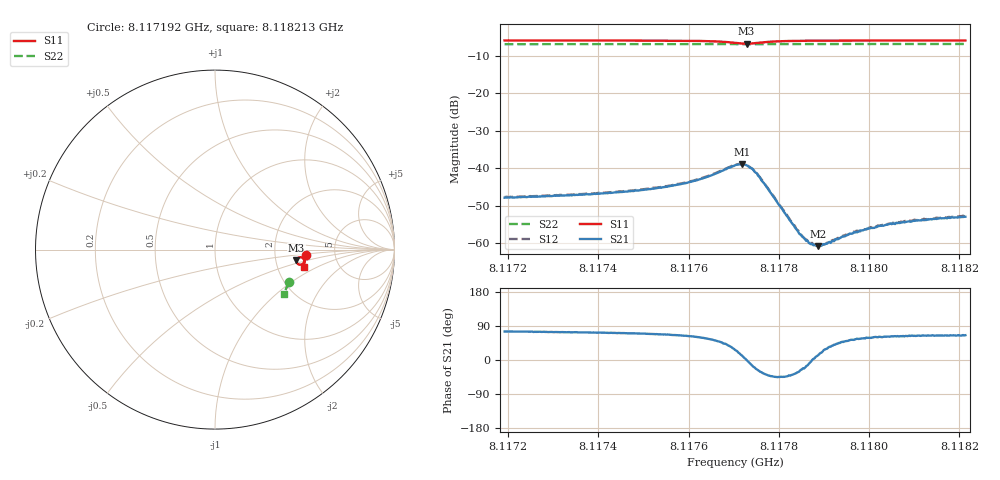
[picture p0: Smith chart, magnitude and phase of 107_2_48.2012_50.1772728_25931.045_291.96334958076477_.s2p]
#  HZ  S  RI  R  50.00
! Rohde & Schwarz Vector Network Analyzer
! Rohde-Schwarz,ZNB20-2Port,1311601062101988,3.16
! Created: UTC 3/20/2024, 11:40:50 AM
! freq[Hz]  re:S11  im:S11  re:S21  im:S21  re:S12  im:S12  re:S22  im:S22
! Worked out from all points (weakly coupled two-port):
!   401 points, 8.117192 GHz to 8.118213 GHz, reference 50 ohm
!   highest |S21| = -38.95 dB at 8.117718 GHz (marker M1); lowest = -60.8 dB at 8.117887 GHz (marker M2)
!   lowest |S11| = -6.8 dB at 8.117728 GHz (marker M3), VSWR 2.69, Z = 131 - j20 ohm
!   |S11| at or under -10 dB: nowhere
!   |S22| runs from -6.9 to -6.9 dB; largest |S21 - S12| = 0.00036
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8.1171924e9  0.5049 -0.0321  0.00102 0.00389  0.00108 0.00398  0.4128 -0.1822
8.1173634e9  0.5031 -0.0465  0.00132 0.00424  0.00137 0.00429  0.4082 -0.1933
8.1174604e9  0.5014 -0.0555  0.00161 0.00458  0.00169 0.00465  0.4056 -0.1996
8.1175344e9  0.4994 -0.0636  0.00205 0.00506  0.00216 0.00511  0.4033 -0.2041
8.117588e9  0.4965 -0.0704  0.00269 0.00562  0.00281 0.00567  0.4016 -0.2079
8.1176211e9  0.4929 -0.0755  0.00345 0.00606  0.00358 0.00615  0.4005 -0.21
8.1176492e9  0.4877 -0.0805  0.00463 0.00647  0.00474 0.00657  0.3993 -0.2118
8.1177028e9  0.463 -0.0809  0.00975 0.00491  0.00984 0.00495  0.3966 -0.2147
8.1177181e9  0.4549 -0.0706  0.0111 0.0023  0.0112 0.00212  0.396 -0.2151
8.1177283e9  0.4537 -0.0606  0.0109 5.98e-05  0.0111 -0.000112  0.3957 -0.2152
8.1177385e9  0.4575 -0.0512  0.00978 -0.00203  0.0098 -0.00217  0.3957 -0.2155
8.1177538e9  0.4682 -0.0433  0.00706 -0.00362  0.00716 -0.00383  0.3959 -0.2163
8.1178483e9  0.4969 -0.06  0.00117 -0.000576  0.00116 -0.000613  0.3941 -0.2229
8.1178636e9  0.4975 -0.0628  0.00105 -0.000263  0.00104 -0.000246  0.3937 -0.2239
8.1178738e9  0.4979 -0.0643  0.000975 1.96e-06  0.001 -2.8e-05  0.3933 -0.2246
8.1178865e9  0.498 -0.0662  0.000887 0.000192  0.000896 0.000208  0.393 -0.2254
8.1179095e9  0.4984 -0.0694  0.000848 0.000549  0.000851 0.000517  0.3921 -0.2269
8.1179682e9  0.4984 -0.0764  0.000818 0.00113  0.000832 0.00111  0.3903 -0.2307
8.1179988e9  0.4981 -0.0794  0.000808 0.00133  0.000844 0.00134  0.3891 -0.2326
8.1180448e9  0.4977 -0.084  0.000859 0.00157  0.000868 0.0016  0.3878 -0.2354
8.118106e9  0.4969 -0.0895  0.000873 0.00179  0.000891 0.00182  0.3857 -0.2393
8.1182132e9  0.4953 -0.0986  0.000934 0.00204  0.000979 0.00206  0.3819 -0.2459
